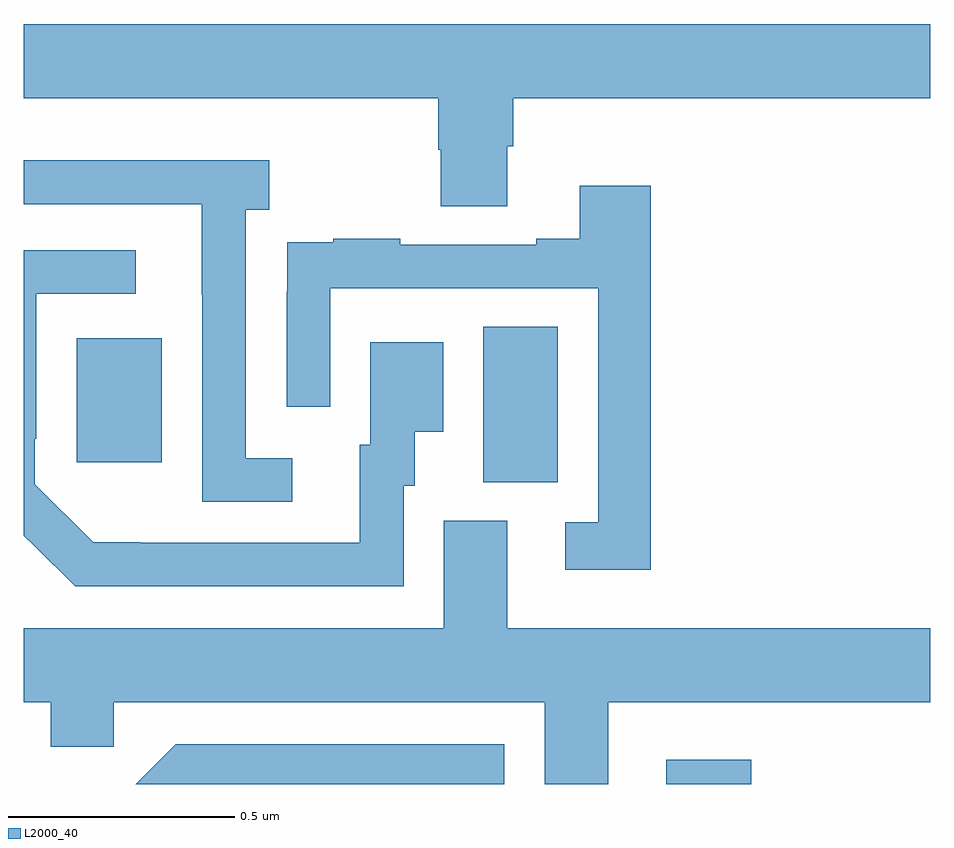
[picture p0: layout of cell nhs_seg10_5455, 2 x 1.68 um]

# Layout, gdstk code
import gdstk
lib = gdstk.Library(unit=1e-6, precision=1e-09)
def R(c, l, rs):  # rectangles x0, y0, x1, y1
    for r in rs: c.add(gdstk.rectangle(r[:2], r[2:], *l))
def P(c, l, *ps):  # polygons
    for p in ps: c.add(gdstk.Polygon(p, *l))
L2000_40 = (2000, 40)

nhs_seg10_5455 = lib.new_cell('nhs_seg10_5455')
R(nhs_seg10_5455, L2000_40, [(180.417,1269.5,180.605,1269.553), (180.014,1270.165,180.178,1270.508), (179.117,1270.209,179.305,1270.483)])
P(nhs_seg10_5455, L2000_40, [(180.067,1270.906),(180.08,1270.906),(180.08,1271.012),(181,1271.012),(181,1271.176),(179,1271.176),(179,1271.012),(179.915,1271.012),(179.915,1270.899),(179.92,1270.899),(179.92,1270.774),(180.067,1270.774)],
  [(179.593,1270.218),(179.49,1270.218),(179.49,1270.766),(179.542,1270.766),(179.542,1270.876),(179,1270.876),(179,1270.779),(179.393,1270.779),(179.393,1270.579),(179.394,1270.579),(179.394,1270.122),(179.593,1270.122)],
  [(180.383,1270.819),(180.227,1270.819),(180.227,1270.702),(180.131,1270.702),(180.131,1270.689),(179.831,1270.689),(179.831,1270.702),(179.683,1270.702),(179.683,1270.695),(179.581,1270.695),(179.581,1270.586),(179.58,1270.586),(179.58,1270.332),(179.676,1270.332),(179.676,1270.593),(180.267,1270.593),(180.267,1270.077),(180.195,1270.077),(180.195,1269.972),(180.383,1269.972)],
  [(179.838,1270.158),(179.863,1270.158),(179.863,1270.277),(179.926,1270.277),(179.926,1270.474),(179.765,1270.474),(179.765,1270.248),(179.741,1270.248),(179.741,1270.032),(179.257,1270.032),(179.257,1270.033),(179.154,1270.033),(179.025,1270.161),(179.025,1270.261),(179.028,1270.261),(179.028,1270.581),(179.248,1270.581),(179.248,1270.677),(179,1270.677),(179,1270.048),(179.022,1270.026),(179.023,1270.027),(179.114,1269.936),(179.838,1269.936)],
  [(180.289,1269.68),(181,1269.68),(181,1269.844),(180.067,1269.844),(180.067,1270.08),(179.927,1270.08),(179.927,1269.844),(179,1269.844),(179,1269.68),(179.06,1269.68),(179.06,1269.582),(179.199,1269.582),(179.199,1269.68),(180.149,1269.68),(180.149,1269.5),(180.289,1269.5)],
  [(180.06,1269.588),(179.336,1269.588),(179.248,1269.5),(180.06,1269.5)])

lib.write_gds('nhs_seg10_5455.gds')
